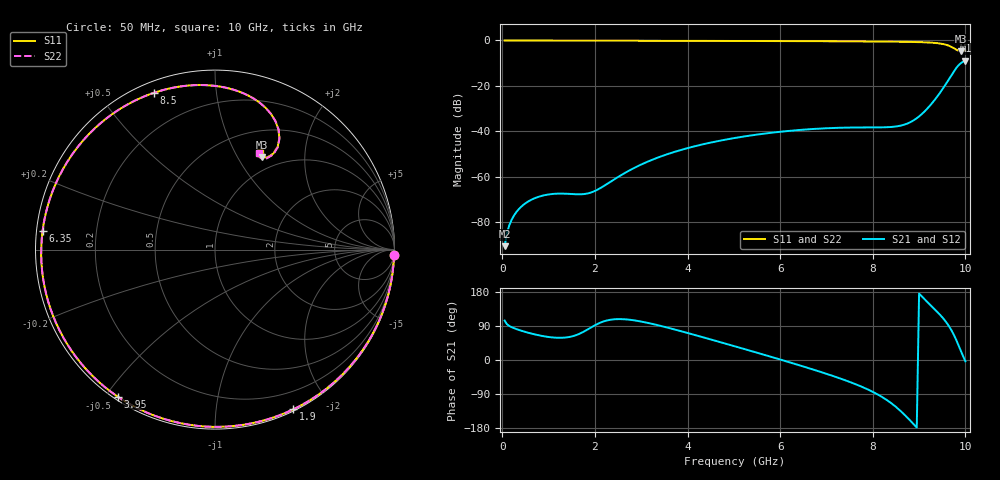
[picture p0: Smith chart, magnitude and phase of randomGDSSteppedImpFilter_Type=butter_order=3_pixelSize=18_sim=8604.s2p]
! freq	dB(S11)	phase(S11)	dB(S12)	phase(S12)
!  dB(S21)	phase(S21)	dB(S22)	phase(S22)
!S-par simulation data
#  GHz  S  DB  R 50
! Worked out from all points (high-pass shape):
!   200 points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, 50 MHz to 10 GHz, reference 50 ohm
!   highest |S21| = -8.86 dB at 10 GHz (marker M1); lowest = -90.7 dB at 50 MHz (marker M2)
!   |S21| within 3 dB of the highest: 9.815 GHz to end of sweep
!   lowest |S11| = -4.8 dB at 9.9 GHz (marker M3), VSWR 3.72, Z = 41.2 + j63.5 ohm
!   |S11| at or under -10 dB: nowhere
!   |S22| runs from -4.9 to 0.0 dB; largest |S21 - S12| = 0
!   S11 on the Smith chart (normalised r, x): 50 MHz: 4, -64; 1.9 GHz: 0.02, -1.60; 3.95 GHz: 0.01, -0.54; 6.35 GHz: 0.02, +0.05; 8.5 GHz: 0.05, +0.68; 10 GHz: 0.76, +1.27
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0.05  -0.02 -1.8  -90.66 104.1  -90.66 104.1  -0.02 -1.8
0.15  -0.02 -5.2  -81.51 89.9  -81.51 89.9  -0.02 -5.2
0.4  -0.02 -13.9  -73.44 77.6  -73.44 77.6  -0.02 -13.9
0.75  -0.03 -26.0  -69.13 66.2  -69.13 66.2  -0.03 -26.0
1.75  -0.07 -59.1  -67.73 74.2  -67.73 74.2  -0.07 -59.1
1.9  -0.08 -63.9  -67.12 84.7  -67.12 84.7  -0.08 -63.9
2.65  -0.10 -86.9  -58.36 107.4  -58.36 107.4  -0.10 -86.9
3.4  -0.13 -108.5  -51.31 90.6  -51.31 90.6  -0.13 -108.5
3.95  -0.15 -123.5  -47.74 73.0  -47.74 73.0  -0.15 -123.6
5.05  -0.21 -152.5  -42.89 35.2  -42.89 35.2  -0.21 -152.5
6.35  -0.30 173.8  -39.57 -11.5  -39.57 -11.5  -0.30 173.8
6.7  -0.33 164.5  -39.04 -24.7  -39.04 -24.7  -0.33 164.5
7.55  -0.41 140.8  -38.37 -60.1  -38.37 -60.1  -0.41 140.7
8.35  -0.53 116.3  -38.21 -109.6  -38.21 -109.6  -0.53 116.2
8.5  -0.56 111.3  -37.93 -123.7  -37.93 -123.7  -0.56 111.2
8.8  -0.65 100.8  -36.14 -158.8  -36.14 -158.8  -0.65 100.7
9.1  -0.81 89.2  -31.66 162.7  -31.66 162.7  -0.81 89.1
9.4  -1.22 75.6  -24.54 126.0  -24.54 126.0  -1.23 75.5
9.65  -2.39 62.3  -16.89 88.4  -16.89 88.4  -2.42 62.1
9.8  -4.06 58.7  -12.23 53.5  -12.23 53.5  -4.14 58.6
9.9  -4.79 63.0  -10.05 24.6  -10.05 24.6  -4.89 63.3
10  -4.48 64.9  -8.86 -3.5  -8.86 -3.5  -4.56 65.6
